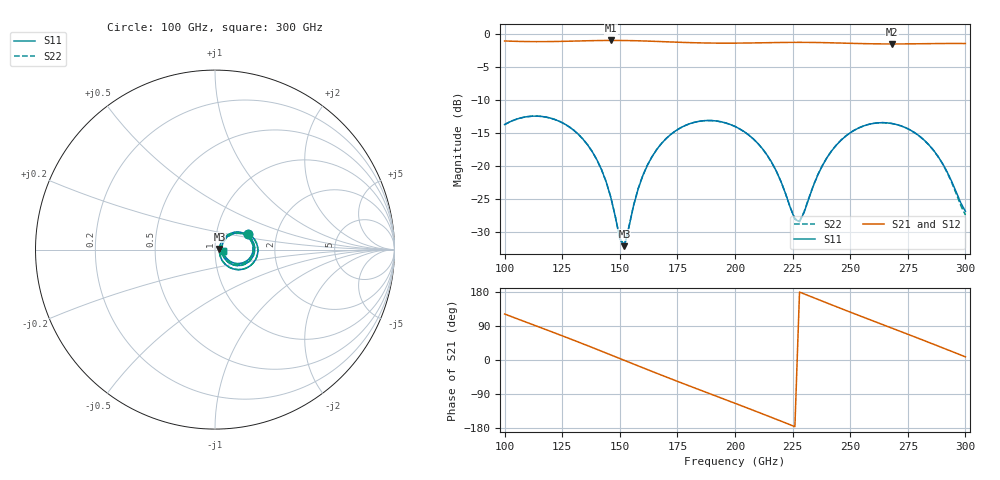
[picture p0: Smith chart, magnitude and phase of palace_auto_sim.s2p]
#  GHZ S DB R 50
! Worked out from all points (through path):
!   101 points, 100 GHz to 300 GHz, reference 50 ohm
!   highest |S21| = -0.97 dB at 146 GHz (marker M1); lowest = -1.5 dB at 268 GHz (marker M2)
!   group delay of S21, straight-line fit = 6.58 ps
!   lowest |S11| = -32.1 dB at 152 GHz (marker M3), VSWR 1.05, Z = 52.5 + j0.409 ohm
!   |S11| at or under -10 dB: start of sweep to end of sweep
!   |S22| runs from -32.0 to -12.4 dB; largest |S21 - S12| = 1.5e-13
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100  -13.72 25.3  -1.05 121.4  -1.05 121.4  -13.73 25.6
110  -12.50 4.9  -1.14 98.4  -1.14 98.4  -12.51 5.0
118  -12.58 -11.6  -1.14 80.1  -1.14 80.1  -12.59 -11.5
134  -15.92 -43.7  -1.03 42.6  -1.03 42.6  -15.92 -43.7
140  -19.02 -53.5  -0.99 28.2  -0.99 28.2  -19.01 -53.4
146  -24.63 -55.5  -0.97 13.6  -0.97 13.6  -24.61 -55.2
150  -31.04 -29.6  -0.97 3.9  -0.97 3.9  -30.92 -29.3
152  -32.15 9.1  -0.98 -1.0  -0.98 -1.0  -31.98 8.7
160  -21.44 51.8  -1.04 -20.5  -1.04 -20.5  -21.43 51.2
168  -16.62 41.1  -1.14 -39.7  -1.14 -39.7  -16.62 40.7
184  -13.25 10.6  -1.33 -77.2  -1.33 -77.2  -13.25 10.1
200  -14.00 -19.9  -1.37 -114.2  -1.37 -114.2  -14.01 -20.3
214  -18.37 -41.5  -1.31 -147.1  -1.31 -147.1  -18.38 -41.9
226  -28.07 -14.2  -1.26 -175.9  -1.26 -175.9  -28.00 -14.3
228  -28.43 8.6  -1.26 179.3  -1.26 179.3  -28.32 8.3
234  -23.01 44.5  -1.27 164.7  -1.27 164.7  -22.95 43.6
240  -18.69 44.3  -1.31 150.3  -1.31 150.3  -18.66 43.4
248  -15.48 32.8  -1.38 131.2  -1.38 131.2  -15.46 31.8
258  -13.69 14.4  -1.46 107.6  -1.46 107.6  -13.68 13.3
268  -13.55 -4.7  -1.50 84.3  -1.50 84.3  -13.55 -5.9
286  -17.53 -34.7  -1.44 42.0  -1.44 42.0  -17.57 -36.6
300  -26.85 -8.3  -1.43 8.4  -1.43 8.4  -27.42 -10.6
